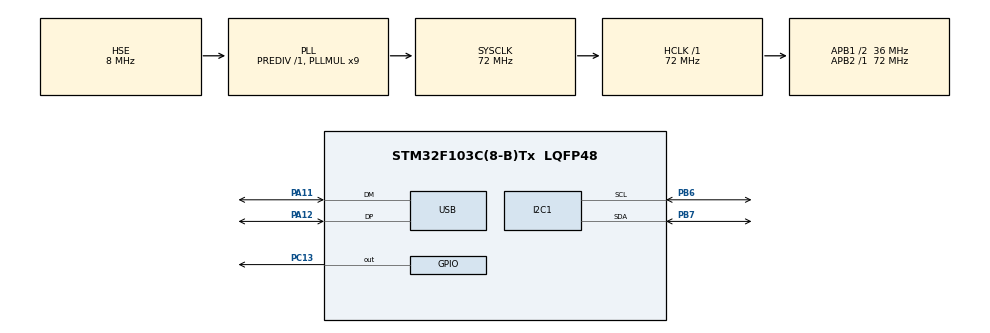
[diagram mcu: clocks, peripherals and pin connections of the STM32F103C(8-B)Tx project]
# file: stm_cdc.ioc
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Mcu.Family=STM32F1
Mcu.Name=STM32F103C(8-B)Tx
Mcu.Package=LQFP48
NVIC.PriorityGroup=NVIC_PRIORITYGROUP_4
NVIC.USB_LP_CAN1_RX0_IRQn=true\:0\:0\:false\:false\:true\:true
PA11.Mode=Device
PA11.Signal=USB_DM
PA12.Mode=Device
PA12.Signal=USB_DP
PB6.Mode=I2C
PB6.Signal=I2C1_SCL
PB7.Mode=I2C
PB7.Signal=I2C1_SDA
PC13-TAMPER-RTC.Signal=GPIO_Output
PC14-OSC32_IN.Mode=LSE-External-Oscillator
PC14-OSC32_IN.Signal=RCC_OSC32_IN
PC15-OSC32_OUT.Mode=LSE-External-Oscillator
PC15-OSC32_OUT.Signal=RCC_OSC32_OUT
PD0-OSC_IN.Mode=HSE-External-Oscillator
PD0-OSC_IN.Signal=RCC_OSC_IN
PD1-OSC_OUT.Mode=HSE-External-Oscillator
PD1-OSC_OUT.Signal=RCC_OSC_OUT
ProjectManager.HeapSize=0x200
ProjectManager.StackSize=0x400
ProjectManager.TargetToolchain=MDK-ARM V5
RCC.AHBFreq_Value=72000000
RCC.APB1CLKDivider=RCC_HCLK_DIV2
RCC.APB1Freq_Value=36000000
RCC.APB1TimFreq_Value=72000000
RCC.APB2Freq_Value=72000000
RCC.APB2TimFreq_Value=72000000
RCC.HCLKFreq_Value=72000000
RCC.PLLMUL=RCC_PLL_MUL9
RCC.SYSCLKFreq_VALUE=72000000
RCC.SYSCLKSource=RCC_SYSCLKSOURCE_PLLCLK
RCC.USBFreq_Value=48000000
RCC.USBPrescaler=RCC_USBCLKSOURCE_PLL_DIV1_5
USB_DEVICE.CLASS_NAME_FS=CDC
USB_DEVICE.VirtualMode=Cdc
USB_DEVICE.VirtualModeFS=Cdc_FS
VP_SYS_VS_ND.Mode=No_Debug
VP_USB_DEVICE_VS_USB_DEVICE_CDC_FS.Mode=CDC_FS
board=stm_cdc

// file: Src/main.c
/**
  ******************************************************************************
  * @file           : main.c
  * @brief          : Main program body
  ******************************************************************************
  * This notice applies to any and all portions of this file
  * that are not between comment pairs USER CODE BEGIN and
  * USER CODE END. Other portions of this file, whether
  * inserted by the user or by software development tools
  * are owned by their respective copyright owners.
  *
  * Copyright (c) 2018 STMicroelectronics International N.V.
  * All rights reserved.
  *
  * Redistribution and use in source and binary forms, with or without
  * modification, are permitted, provided that the following conditions are met:
  *
  * 1. Redistribution of source code must retain the above copyright notice,
  *    this list of conditions and the following disclaimer.
  * 2. Redistributions in binary form must reproduce the above copyright notice,
  *    this list of conditions and the following disclaimer in the documentation
  *    and/or other materials provided with the distribution.
  * 3. Neither the name of STMicroelectronics nor the names of other
  *    contributors to this software may be used to endorse or promote products
  *    derived from this software without specific written permission.
  * 4. This software, including modifications and/or derivative works of this
  *    software, must execute solely and exclusively on microcontroller or
  *    microprocessor devices manufactured by or for STMicroelectronics.
  * 5. Redistribution and use of this software other than as permitted under
  *    this license is void and will automatically terminate your rights under
  *    this license.
  *
  * THIS SOFTWARE IS PROVIDED BY STMICROELECTRONICS AND CONTRIBUTORS "AS IS"
  * AND ANY EXPRESS, IMPLIED OR STATUTORY WARRANTIES, INCLUDING, BUT NOT
  * LIMITED TO, THE IMPLIED WARRANTIES OF MERCHANTABILITY, FITNESS FOR A
  * PARTICULAR PURPOSE AND NON-INFRINGEMENT OF THIRD PARTY INTELLECTUAL PROPERTY
  * RIGHTS ARE DISCLAIMED TO THE FULLEST EXTENT PERMITTED BY LAW. IN NO EVENT
  * SHALL STMICROELECTRONICS OR CONTRIBUTORS BE LIABLE FOR ANY DIRECT, INDIRECT,
  * INCIDENTAL, SPECIAL, EXEMPLARY, OR CONSEQUENTIAL DAMAGES (INCLUDING, BUT NOT
  * LIMITED TO, PROCUREMENT OF SUBSTITUTE GOODS OR SERVICES; LOSS OF USE, DATA,
  * OR PROFITS; OR BUSINESS INTERRUPTION) HOWEVER CAUSED AND ON ANY THEORY OF
  * LIABILITY, WHETHER IN CONTRACT, STRICT LIABILITY, OR TORT (INCLUDING
  * NEGLIGENCE OR OTHERWISE) ARISING IN ANY WAY OUT OF THE USE OF THIS SOFTWARE,
  * EVEN IF ADVISED OF THE POSSIBILITY OF SUCH DAMAGE.
  *
  ******************************************************************************
  */
#include "main.h"
#include "stm32f1xx_hal.h"
#include "usb_device.h"

/* USER CODE BEGIN Includes */
#define XGOFFS_TC        0x00 // Bit 7 PWR_MODE, bits 6:1 XG_OFFS_TC, bit 0 OTP_BNK_VLD
#define YGOFFS_TC        0x01
#define ZGOFFS_TC        0x02
#define X_FINE_GAIN      0x03 // [7:0] fine gain
#define Y_FINE_GAIN      0x04
#define Z_FINE_GAIN      0x05
#define XA_OFFSET_H      0x06 // User-defined trim values for accelerometer
#define XA_OFFSET_L_TC   0x07
#define YA_OFFSET_H      0x08
#define YA_OFFSET_L_TC   0x09
#define ZA_OFFSET_H      0x0A
#define ZA_OFFSET_L_TC   0x0B
#define SELF_TEST_X      0x0D
#define SELF_TEST_Y      0x0E
#define SELF_TEST_Z      0x0F
#define SELF_TEST_A      0x10
#define XG_OFFS_USRH     0x13  // User-defined trim values for gyroscope; supported in MPU-6050?
#define XG_OFFS_USRL     0x14
#define YG_OFFS_USRH     0x15
#define YG_OFFS_USRL     0x16
#define ZG_OFFS_USRH     0x17
#define ZG_OFFS_USRL     0x18
#define SMPLRT_DIV       0x19
#define CONFIG           0x1A
#define GYRO_CONFIG      0x1B
#define ACCEL_CONFIG     0x1C
#define FF_THR           0x1D  // Free-fall
#define FF_DUR           0x1E  // Free-fall
#define MOT_THR          0x1F  // Motion detection threshold bits [7:0]
#define MOT_DUR          0x20  // Duration counter threshold for motion interrupt generation, 1 kHz rate, LSB = 1 ms
#define ZMOT_THR         0x21  // Zero-motion detection threshold bits [7:0]
#define ZRMOT_DUR        0x22  // Duration counter threshold for zero motion interrupt generation, 16 Hz rate, LSB = 64 ms
#define FIFO_EN          0x23
#define I2C_MST_CTRL     0x24
#define I2C_SLV0_ADDR    0x25
#define I2C_SLV0_REG     0x26
#define I2C_SLV0_CTRL    0x27
#define I2C_SLV1_ADDR    0x28
#define I2C_SLV1_REG     0x29
#define I2C_SLV1_CTRL    0x2A
#define I2C_SLV2_ADDR    0x2B
#define I2C_SLV2_REG     0x2C
#define I2C_SLV2_CTRL    0x2D
#define I2C_SLV3_ADDR    0x2E
#define I2C_SLV3_REG     0x2F
#define I2C_SLV3_CTRL    0x30
#define I2C_SLV4_ADDR    0x31
#define I2C_SLV4_REG     0x32
#define I2C_SLV4_DO      0x33
#define I2C_SLV4_CTRL    0x34
#define I2C_SLV4_DI      0x35
#define I2C_MST_STATUS   0x36
#define INT_PIN_CFG      0x37
#define INT_ENABLE       0x38
#define DMP_INT_STATUS   0x39  // Check DMP interrupt
#define INT_STATUS       0x3A
#define ACCEL_XOUT_H     0x3B
#define ACCEL_XOUT_L     0x3C
#define ACCEL_YOUT_H     0x3D
#define ACCEL_YOUT_L     0x3E
#define ACCEL_ZOUT_H     0x3F
#define ACCEL_ZOUT_L     0x40
#define TEMP_OUT_H       0x41
#define TEMP_OUT_L       0x42
#define GYRO_XOUT_H      0x43
#define GYRO_XOUT_L      0x44
#define GYRO_YOUT_H      0x45
#define GYRO_YOUT_L      0x46
#define GYRO_ZOUT_H      0x47
#define GYRO_ZOUT_L      0x48
#define EXT_SENS_DATA_00 0x49
#define EXT_SENS_DATA_01 0x4A
#define EXT_SENS_DATA_02 0x4B
#define EXT_SENS_DATA_03 0x4C
#define EXT_SENS_DATA_04 0x4D
#define EXT_SENS_DATA_05 0x4E
#define EXT_SENS_DATA_06 0x4F
#define EXT_SENS_DATA_07 0x50
#define EXT_SENS_DATA_08 0x51
#define EXT_SENS_DATA_09 0x52
#define EXT_SENS_DATA_10 0x53
#define EXT_SENS_DATA_11 0x54
#define EXT_SENS_DATA_12 0x55
#define EXT_SENS_DATA_13 0x56
#define EXT_SENS_DATA_14 0x57
#define EXT_SENS_DATA_15 0x58
#define EXT_SENS_DATA_16 0x59
#define EXT_SENS_DATA_17 0x5A
#define EXT_SENS_DATA_18 0x5B
#define EXT_SENS_DATA_19 0x5C
#define EXT_SENS_DATA_20 0x5D
#define EXT_SENS_DATA_21 0x5E
#define EXT_SENS_DATA_22 0x5F
#define EXT_SENS_DATA_23 0x60
#define MOT_DETECT_STATUS 0x61
#define I2C_SLV0_DO      0x63
#define I2C_SLV1_DO      0x64
#define I2C_SLV2_DO      0x65
#define I2C_SLV3_DO      0x66
#define I2C_MST_DELAY_CTRL 0x67
#define SIGNAL_PATH_RESET  0x68
#define MOT_DETECT_CTRL   0x69
#define USER_CTRL        0x6A  // Bit 7 enable DMP, bit 3 reset DMP
#define PWR_MGMT_1       0x6B // Device defaults to the SLEEP mode
#define PWR_MGMT_2       0x6C
#define DMP_BANK         0x6D  // Activates a specific bank in the DMP
#define DMP_RW_PNT       0x6E  // Set read/write pointer to a specific start address in specified DMP bank
#define DMP_REG          0x6F  // Register in DMP from which to read or to which to write
#define DMP_REG_1        0x70
#define DMP_REG_2        0x71
#define FIFO_COUNTH      0x72
#define FIFO_COUNTL      0x73
#define FIFO_R_W         0x74
#define WHO_AM_I_MPU6050 0x75 // Should return 0x68

#define MPU6050_ADDRESS (0x68<<1)
/* USER CODE END Includes */

I2C_HandleTypeDef hi2c1;
//uint16_t MPU6050_ADDRESS = 0x68;
uint8_t mpu6050_address_buf[4] = "";
/* USER CODE BEGIN PV */
/* Private variables ---------------------------------------------------------*/

/* USER CODE END PV */

void SystemClock_Config(void);
static void MX_GPIO_Init(void);
static void MX_I2C1_Init(void);

/* USER CODE BEGIN PFP */
/* Private function prototypes -----------------------------------------------*/

/* USER CODE END PFP */

int main(void)
{

  /* MCU Configuration----------------------------------------------------------*/

  /* Reset of all peripherals, Initializes the Flash interface and the Systick. */
  HAL_Init();

  /* Configure the system clock */
  SystemClock_Config();

  /* Initialize all configured peripherals */
  MX_GPIO_Init();
  MX_USB_DEVICE_Init();
  MX_I2C1_Init();
  /* USER CODE BEGIN 2 */
  HAL_Delay(1000);
  /* USER CODE END 2 */

  /* Infinite loop */
  while (1)
  {

  /* USER CODE BEGIN 3 */
  HAL_GPIO_WritePin(GPIOC, GPIO_PIN_13, GPIO_PIN_SET);
	 HAL_Delay(100);
		HAL_GPIO_WritePin(GPIOC, GPIO_PIN_13, GPIO_PIN_RESET);
		HAL_Delay(100);

		//HAL_I2C_Master_Transmit(I2C_HandleTypeDef *hi2c, uint16_t DevAddress, uint8_t *pData, uint16_t Size, uint32_t Timeout)

		//HAL_I2C_Master_Receive(&hi2c1, MPU6050_ADDRESS, &mpu6050_address_buf, uint16_t Size, uint32_t Timeout)
		/*HAL_I2C_Mem_Read(&hi2c1, MPU6050_ADDRESS, WHO_AM_I_MPU6050, 1, mpu6050_address_buf, 1, 1000);
		if (mpu6050_address_buf[0] == 0x68)
		{

			HAL_GPIO_WritePin(GPIOC, GPIO_PIN_13, GPIO_PIN_RESET);
		}*/

  }
  /* USER CODE END 3 */

}

void SystemClock_Config(void)
{

  RCC_OscInitTypeDef RCC_OscInitStruct;
  RCC_ClkInitTypeDef RCC_ClkInitStruct;
  RCC_PeriphCLKInitTypeDef PeriphClkInit;

    /**Initializes the CPU, AHB and APB busses clocks
    */
  RCC_OscInitStruct.OscillatorType = RCC_OSCILLATORTYPE_HSE;
  RCC_OscInitStruct.HSEState = RCC_HSE_ON;
  RCC_OscInitStruct.HSEPredivValue = RCC_HSE_PREDIV_DIV1;
  RCC_OscInitStruct.HSIState = RCC_HSI_ON;
  RCC_OscInitStruct.PLL.PLLState = RCC_PLL_ON;
  RCC_OscInitStruct.PLL.PLLSource = RCC_PLLSOURCE_HSE;
  RCC_OscInitStruct.PLL.PLLMUL = RCC_PLL_MUL9;
  if (HAL_RCC_OscConfig(&RCC_OscInitStruct) != HAL_OK)
  {
    _Error_Handler(__FILE__, __LINE__);
  }

    /**Initializes the CPU, AHB and APB busses clocks
    */
  RCC_ClkInitStruct.ClockType = RCC_CLOCKTYPE_HCLK|RCC_CLOCKTYPE_SYSCLK
                              |RCC_CLOCKTYPE_PCLK1|RCC_CLOCKTYPE_PCLK2;
  RCC_ClkInitStruct.SYSCLKSource = RCC_SYSCLKSOURCE_PLLCLK;
  RCC_ClkInitStruct.AHBCLKDivider = RCC_SYSCLK_DIV1;
  RCC_ClkInitStruct.APB1CLKDivider = RCC_HCLK_DIV2;
  RCC_ClkInitStruct.APB2CLKDivider = RCC_HCLK_DIV1;

  if (HAL_RCC_ClockConfig(&RCC_ClkInitStruct, FLASH_LATENCY_2) != HAL_OK)
  {
    _Error_Handler(__FILE__, __LINE__);
  }

  PeriphClkInit.PeriphClockSelection = RCC_PERIPHCLK_USB;
  PeriphClkInit.UsbClockSelection = RCC_USBCLKSOURCE_PLL_DIV1_5;
  if (HAL_RCCEx_PeriphCLKConfig(&PeriphClkInit) != HAL_OK)
  {
    _Error_Handler(__FILE__, __LINE__);
  }

    /**Configure the Systick interrupt time
    */
  HAL_SYSTICK_Config(HAL_RCC_GetHCLKFreq()/1000);

    /**Configure the Systick
    */
  HAL_SYSTICK_CLKSourceConfig(SYSTICK_CLKSOURCE_HCLK);

  /* SysTick_IRQn interrupt configuration */
  HAL_NVIC_SetPriority(SysTick_IRQn, 0, 0);
}

/* I2C1 init function */
static void MX_I2C1_Init(void)
{

  hi2c1.Instance = I2C1;
  hi2c1.Init.ClockSpeed = 100000;
  hi2c1.Init.DutyCycle = I2C_DUTYCYCLE_2;
  hi2c1.Init.OwnAddress1 = 0;
  hi2c1.Init.AddressingMode = I2C_ADDRESSINGMODE_7BIT;
  hi2c1.Init.DualAddressMode = I2C_DUALADDRESS_DISABLE;
  hi2c1.Init.OwnAddress2 = 0;
  hi2c1.Init.GeneralCallMode = I2C_GENERALCALL_DISABLE;
  hi2c1.Init.NoStretchMode = I2C_NOSTRETCH_DISABLE;
  if (HAL_I2C_Init(&hi2c1) != HAL_OK)
  {
    _Error_Handler(__FILE__, __LINE__);
  }

}

/** Configure pins as
        * Analog
        * Input
        * Output
        * EVENT_OUT
        * EXTI
*/
static void MX_GPIO_Init(void)
{

  GPIO_InitTypeDef GPIO_InitStruct;

  /* GPIO Ports Clock Enable */
  __HAL_RCC_GPIOC_CLK_ENABLE();
  __HAL_RCC_GPIOD_CLK_ENABLE();
  __HAL_RCC_GPIOA_CLK_ENABLE();
  __HAL_RCC_GPIOB_CLK_ENABLE();

  /*Configure GPIO pin Output Level */
  HAL_GPIO_WritePin(GPIOC, GPIO_PIN_13, GPIO_PIN_RESET);

  /*Configure GPIO pin : PC13 */
  GPIO_InitStruct.Pin = GPIO_PIN_13;
  GPIO_InitStruct.Mode = GPIO_MODE_OUTPUT_PP;
  GPIO_InitStruct.Speed = GPIO_SPEED_FREQ_LOW;
  HAL_GPIO_Init(GPIOC, &GPIO_InitStruct);

}

void _Error_Handler(char *file, int line)
{
  while(1)
  {
  }
}

/************************ (C) COPYRIGHT STMicroelectronics *****END OF FILE****/
